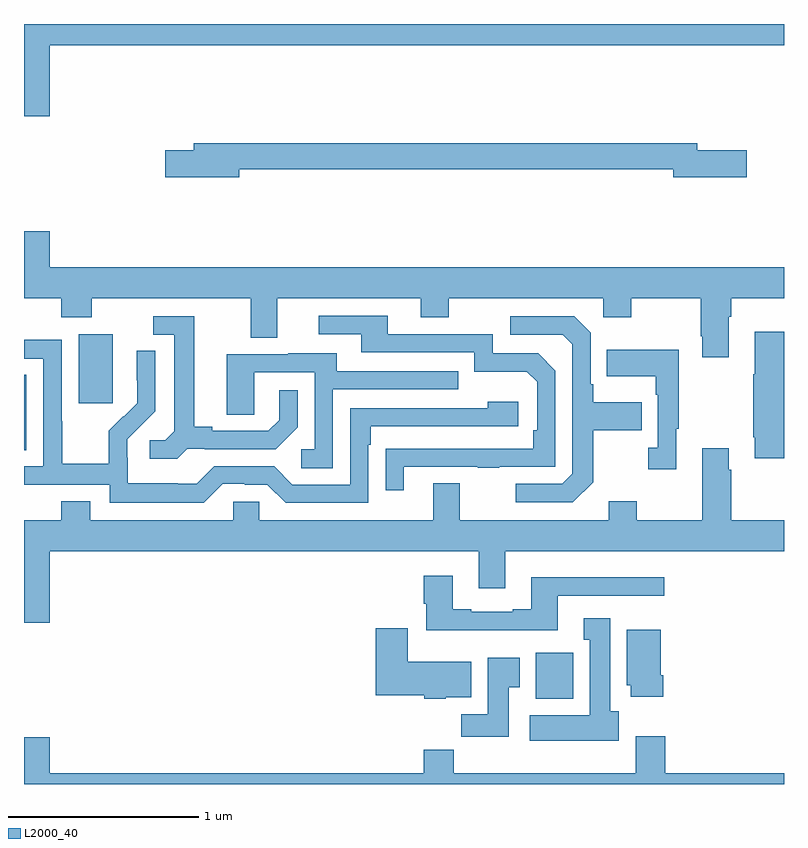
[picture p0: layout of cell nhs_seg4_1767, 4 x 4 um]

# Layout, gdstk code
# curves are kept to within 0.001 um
import gdstk
lib = gdstk.Library(unit=1e-6, precision=1e-09)
def R(c, l, rs):  # rectangles x0, y0, x1, y1
    for r in rs: c.add(gdstk.rectangle(r[:2], r[2:], *l))
def P(c, l, *ps):  # polygons
    for p in ps: c.add(gdstk.Polygon(p, *l))
L2000_40 = (2000, 40)

nhs_seg4_1767 = lib.new_cell('nhs_seg4_1767')
R(nhs_seg4_1767, L2000_40, [(203.693,825.35,203.89,825.592), (201,826.657,201.013,827.054), (201.287,826.905,201.466,827.266)])
P(nhs_seg4_1767, L2000_40, [(201.136,828.788),(205,828.788),(205,828.9),(201,828.9),(201,828.414),(201.136,828.414)],
  [(202.132,828.136),(204.416,828.136),(204.416,828.094),(204.805,828.094),(204.805,828.236),(204.544,828.236),(204.544,828.272),(201.893,828.272),(201.893,828.236),(201.744,828.236),(201.744,828.094),(202.132,828.094)],
  [(204.709,827.36),(204.722,827.36),(204.722,827.456),(205,827.456),(205,827.62),(201.136,827.62),(201.136,827.809),(201,827.809),(201,827.456),(201.197,827.456),(201.197,827.357),(201.357,827.357),(201.357,827.456),(202.193,827.456),(202.193,827.248),(202.333,827.248),(202.333,827.456),(203.087,827.456),(203.087,827.357),(203.235,827.357),(203.235,827.456),(204.048,827.456),(204.048,827.357),(204.195,827.357),(204.195,827.456),(204.562,827.456),(204.562,827.257),(204.569,827.257),(204.569,827.145),(204.709,827.145)],
  [(202.999,826.569),(203.389,826.569),(203.389,826.564),(203.501,826.564),(203.501,826.569),(203.796,826.569),(203.796,827.076),(203.706,827.166),(203.466,827.166),(203.466,827.268),(202.915,827.268),(202.915,827.364),(202.551,827.364),(202.551,827.268),(202.775,827.268),(202.775,827.172),(203.37,827.172),(203.37,827.069),(203.647,827.069),(203.7,827.016),(203.7,826.762),(203.68,826.762),(203.68,826.665),(202.903,826.664),(202.903,826.446),(202.999,826.446)],
  [(203.995,826.489),(203.995,826.762),(204.251,826.762),(204.251,826.909),(203.995,826.909),(203.995,827.005),(203.982,827.005),(203.982,827.274),(203.895,827.361),(203.559,827.361),(203.559,827.265),(203.835,827.265),(203.886,827.214),(203.886,826.533),(203.832,826.479),(203.589,826.479),(203.589,826.383),(203.889,826.383)],
  [(201.858,826.665),(201.952,826.665),(201.952,826.662),(202.324,826.662),(202.44,826.778),(202.44,826.972),(202.343,826.972),(202.343,826.815),(202.286,826.758),(201.991,826.758),(201.991,826.781),(201.895,826.781),(201.895,827.361),(201.681,827.361),(201.681,827.265),(201.791,827.265),(201.791,826.757),(201.744,826.71),(201.663,826.71),(201.663,826.613),(201.806,826.613)],
  [(205,827.281),(204.845,827.281),(204.845,827.057),(204.838,827.057),(204.838,826.726),(204.845,826.726),(204.845,826.614),(205,826.614)],
  [(202.047,826.479),(202.163,826.479),(202.163,826.476),(202.281,826.476),(202.377,826.38),(202.812,826.38),(202.812,826.685),(202.825,826.685),(202.825,826.782),(203.602,826.782),(203.602,826.912),(203.441,826.912),(203.441,826.878),(202.716,826.878),(202.716,826.476),(202.413,826.476),(202.317,826.572),(202.002,826.572),(201.909,826.479),(201.809,826.479),(201.809,826.483),(201.546,826.483),(201.546,826.617),(201.544,826.617),(201.544,826.714),(201.69,826.862),(201.69,827.18),(201.594,827.18),(201.594,827.026),(201.596,827.026),(201.596,826.904),(201.525,826.833),(201.522,826.836),(201.445,826.759),(201.445,826.585),(201.201,826.585),(201.201,826.808),(201.198,826.808),(201.198,827.238),(201,827.238),(201,827.139),(201.102,827.139),(201.102,826.572),(201,826.572),(201,826.476),(201.45,826.476),(201.45,826.379),(201.947,826.379)],
  [(204.433,826.769),(204.445,826.769),(204.445,827.185),(204.067,827.185),(204.067,827.045),(204.324,827.045),(204.324,826.949),(204.336,826.949),(204.336,826.67),(204.285,826.67),(204.285,826.557),(204.433,826.557)],
  [(202.626,826.977),(203.285,826.977),(203.285,827.073),(202.645,827.073),(202.645,827.167),(202.391,827.167),(202.391,827.163),(202.067,827.163),(202.067,826.843),(202.212,826.843),(202.212,827.067),(202.53,827.067),(202.53,826.662),(202.458,826.662),(202.458,826.561),(202.626,826.561)],
  [(205,826.288),(204.722,826.288),(204.722,826.553),(204.709,826.553),(204.709,826.666),(204.569,826.666),(204.569,826.288),(204.225,826.288),(204.225,826.387),(204.077,826.387),(204.077,826.288),(203.293,826.288),(203.293,826.483),(203.153,826.483),(203.153,826.288),(202.239,826.288),(202.239,826.386),(202.101,826.386),(202.101,826.288),(201.349,826.288),(201.349,826.387),(201.197,826.387),(201.197,826.288),(201,826.288),(201,825.75),(201.136,825.75),(201.136,826.124),(203.393,826.124),(203.393,825.93),(203.533,825.93),(203.533,826.124),(205,826.124)],
  [(203.809,825.891),(204.37,825.891),(204.37,825.988),(203.669,825.988),(203.669,825.82),(203.573,825.82),(203.573,825.807),(203.353,825.807),(203.353,825.82),(203.257,825.82),(203.257,825.997),(203.105,825.997),(203.105,825.849),(203.117,825.849),(203.117,825.71),(203.809,825.71)],
  [(204.13,825.282),(204.085,825.282),(204.085,825.772),(203.945,825.772),(203.945,825.659),(203.978,825.659),(203.978,825.262),(203.661,825.262),(203.661,825.128),(204.13,825.128)],
  [(203.22,825.356),(203.353,825.356),(203.353,825.544),(203.02,825.544),(203.02,825.721),(202.85,825.721),(202.85,825.368),(203.106,825.368),(203.106,825.35),(203.22,825.35)],
  [(204.365,825.472),(204.352,825.472),(204.352,825.712),(204.173,825.712),(204.173,825.42),(204.194,825.42),(204.194,825.36),(204.365,825.36)],
  [(203.551,825.409),(203.608,825.409),(203.608,825.565),(203.441,825.565),(203.441,825.268),(203.302,825.268),(203.302,825.15),(203.551,825.15)],
  [(203.261,825.08),(203.105,825.08),(203.105,824.956),(201.136,824.956),(201.136,825.145),(201,825.145),(201,824.9),(205,824.9),(205,824.956),(204.374,824.956),(204.374,825.151),(204.221,825.151),(204.221,824.956),(203.261,824.956)])

lib.write_gds('nhs_seg4_1767.gds')
